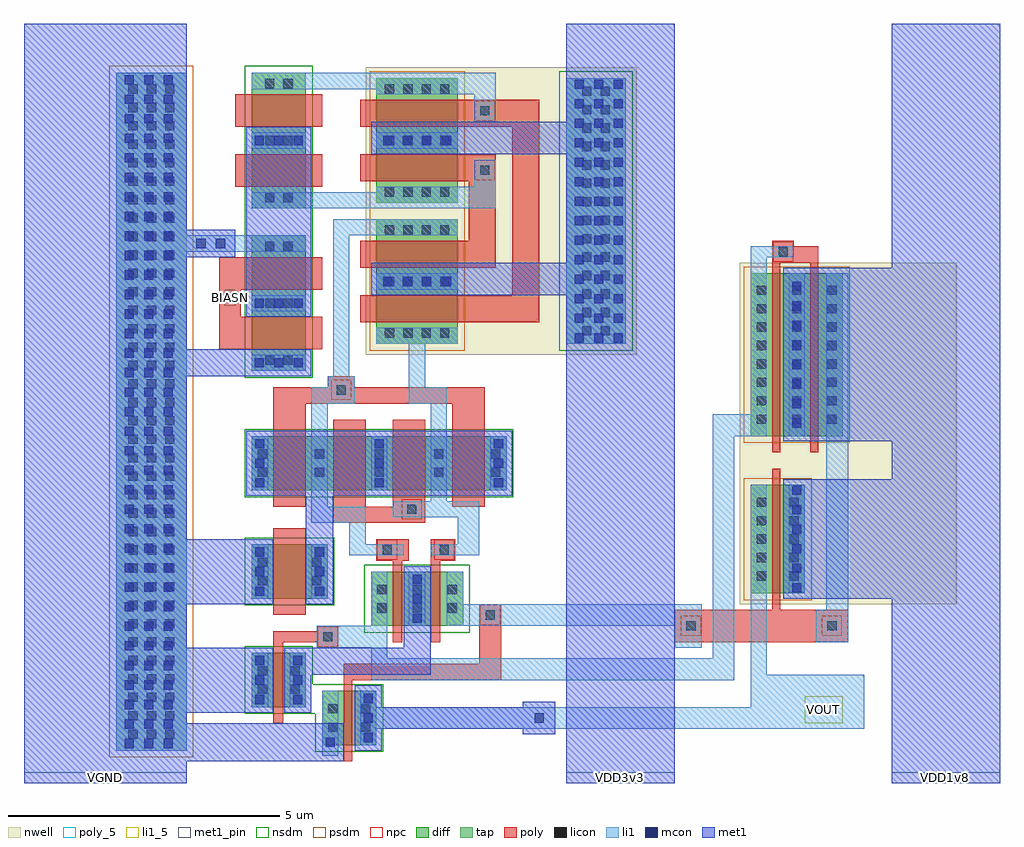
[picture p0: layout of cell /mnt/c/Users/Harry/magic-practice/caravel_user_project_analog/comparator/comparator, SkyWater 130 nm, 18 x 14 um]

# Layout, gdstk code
import gdstk
lib = gdstk.Library(unit=1e-6, precision=1e-09)
def R(c, l, rs):  # rectangles x0, y0, x1, y1
    for r in rs: c.add(gdstk.rectangle(r[:2], r[2:], *l))
def A(c, l, x, y, w, h, nx, ny, dx, dy):  # array of equal rectangles
    R(c, l, [(x+i*dx, y+j*dy, x+i*dx+w, y+j*dy+h) for i in range(nx) for j in range(ny)])
nwell = (64, 20)
diff = (65, 20)
tap = (65, 44)
poly_5 = (66, 5)
poly = (66, 20)
licon = (66, 44)
li1_5 = (67, 5)
li1 = (67, 20)
mcon = (67, 44)
met1_pin = (68, 16)
met1 = (68, 20)
nsdm = (93, 44)
psdm = (94, 20)
npc = (95, 20)

c__mnt_c_users_harry_magic = lib.new_cell('/mnt/c/Users/Harry/magic-practice/caravel_user_project_analog/comparator/comparator')
R(c__mnt_c_users_harry_magic, nwell, [(9.2,-7.7,13.2,-1.4), (2.3,-3.1,7.3,2.2)])
R(c__mnt_c_users_harry_magic, diff, [(1.5,-10.3,2.5,-9.3), (0.2,-9.6,1.2,-8.6), (2.4,-8.1,4.1,-7.1), (0.2,-7.6,1.6,-6.6), (9.4,-7.5,10.4,-5.5), (0.2,-5.6,4.9,-4.6), (9.4,-4.6,11.1,-1.6), (0.2,-3.4,1.2,-0.9), (2.5,-2.9,4,-0.6), (0.2,-0.4,1.2,2.1), (2.5,-0.3,4,2)])
R(c__mnt_c_users_harry_magic, tap, [(-2.3,-10.4,-1,2.1), (6,-2.9,7.1,2)])
R(c__mnt_c_users_harry_magic, poly_5, [(-0.3,-2.2,-0.1,-1.9)])
R(c__mnt_c_users_harry_magic, poly, [(1.9,-10.6,2.05,-9.1), (0.6,-9.9,0.78,-8.4), (1.9,-9.1,4.8,-8.8), (4.4,-8.8,4.8,-7.7), (1.4,-8.5,1.8,-8.4), (0.6,-8.4,1.8,-8.2), (2.8,-8.4,2.98,-6.9), (3.5,-8.4,3.68,-6.9), (8,-8.4,11.2,-7.8), (1.4,-8.2,1.8,-8.1), (0.6,-7.9,1.2,-6.3), (9.8,-7.8,9.95,-5.2), (2.5,-6.9,3.1,-6.5), (3.5,-6.9,3.95,-6.5), (1.7,-6.2,3.4,-5.9), (0.6,-5.9,1.2,-4), (1.7,-5.9,2.3,-4.3), (2.8,-5.9,3.4,-4.3), (3.9,-5.9,4.5,-4), (9.8,-4.9,9.95,-1.4), (10.5,-4.9,10.65,-1.4), (0.6,-4,4.5,-3.7), (1.6,-3.7,2.1,-3.5), (-0.4,-3,1.5,-2.4), (2.2,-2.5,5.5,-2), (-0.4,-2.4,0,-1.9), (5,-2,5.5,1.1), (-0.4,-1.9,1.5,-1.3), (2.2,-1.5,4.7,-1), (9.8,-1.4,10.65,-1.1), (9.8,-1.1,10.2,-1), (4.2,-1,4.7,0.1), (-0.1,0,1.5,0.6), (2.2,0.1,4.7,0.6), (-0.1,1.1,1.5,1.7), (2.2,1.1,5.5,1.6)])
A(c__mnt_c_users_harry_magic, licon, -2.075, -10.185, 0.17, 0.17, 3, 36, 0.34, 0.34)
A(c__mnt_c_users_harry_magic, licon, 2.515, -7.855, 0.17, 0.17, 3, 2, 0.65, 0.34)
A(c__mnt_c_users_harry_magic, licon, 9.515, -7.265, 0.17, 0.17, 1, 5, 0, 0.34)
A(c__mnt_c_users_harry_magic, licon, 10.115, -7.265, 0.17, 0.17, 1, 5, 0, 0.34)
A(c__mnt_c_users_harry_magic, licon, 1.365, -5.355, 0.17, 0.17, 3, 2, 1.1, 0.34)
A(c__mnt_c_users_harry_magic, licon, 9.515, -4.375, 0.17, 0.17, 3, 8, 0.65, 0.34)
A(c__mnt_c_users_harry_magic, licon, 0.445, -3.285, 0.17, 0.17, 1, 3, 0, 1.05)
A(c__mnt_c_users_harry_magic, licon, 0.785, -3.285, 0.17, 0.17, 1, 3, 0, 1.05)
A(c__mnt_c_users_harry_magic, licon, 2.655, -2.785, 0.17, 0.17, 4, 3, 0.34, 0.95)
A(c__mnt_c_users_harry_magic, licon, 6.295, -2.745, 0.17, 0.17, 1, 14, 0, 0.34)
A(c__mnt_c_users_harry_magic, licon, 6.635, -2.745, 0.17, 0.17, 1, 14, 0, 0.34)
A(c__mnt_c_users_harry_magic, licon, 0.445, -0.285, 0.17, 0.17, 1, 3, 0, 1.05)
A(c__mnt_c_users_harry_magic, licon, 0.785, -0.285, 0.17, 0.17, 1, 3, 0, 1.05)
A(c__mnt_c_users_harry_magic, licon, 2.655, -0.185, 0.17, 0.17, 4, 3, 0.34, 0.95)
R(c__mnt_c_users_harry_magic, licon, [(1.615,-10.055,1.785,-9.885), (2.215,-10.055,2.385,-9.885), (1.615,-9.715,1.785,-9.545), (2.215,-9.715,2.385,-9.545), (0.315,-9.355,0.485,-9.185), (0.915,-9.355,1.085,-9.185), (0.315,-9.015,0.485,-8.845), (0.915,-9.015,1.085,-8.845), (1.515,-8.385,1.685,-8.215), (8.215,-8.185,8.385,-8.015), (10.815,-8.185,10.985,-8.015), (4.515,-7.985,4.685,-7.815), (0.315,-7.355,0.485,-7.185), (1.315,-7.355,1.485,-7.185), (0.315,-7.015,0.485,-6.845), (1.315,-7.015,1.485,-6.845), (2.615,-6.785,2.785,-6.615), (3.665,-6.785,3.835,-6.615), (3.065,-6.035,3.235,-5.865), (0.315,-5.355,0.485,-5.185), (4.615,-5.355,4.785,-5.185), (0.315,-5.015,0.485,-4.845), (4.615,-5.015,4.785,-4.845), (1.765,-3.835,1.935,-3.665), (9.915,-1.285,10.085,-1.115), (4.415,0.215,4.585,0.385), (4.415,1.315,4.585,1.485)])
R(c__mnt_c_users_harry_magic, li1_5, [(10.4,-9.9,11.1,-9.4)])
A(c__mnt_c_users_harry_magic, li1, 0.2, -5.6, 0.3, 1, 3, 1, 2.2, 0)
R(c__mnt_c_users_harry_magic, li1, [(1.5,-10.5,1.8,-9.3), (-2.3,-10.4,-1,-1.2), (2.2,-10.3,2.5,-10), (2.2,-10,11.5,-9.6), (0.2,-9.6,0.5,-8.6), (0.9,-9.6,1.2,-8.6), (2.2,-9.6,2.5,-9.3), (9.4,-9.6,11.5,-9), (2.4,-9.1,9.1,-8.7), (9.4,-9,9.7,-5.5), (2.4,-8.7,2.7,-8.5), (8.7,-8.7,9.1,-4.6), (1.4,-8.5,2.7,-8.1), (8,-8.5,8.5,-8.1), (10.6,-8.4,11.2,-7.8), (2.4,-8.1,2.7,-7.1), (3.1,-8.1,3.4,-7.1), (3.8,-8.1,8.5,-7.7), (10.8,-7.8,11.2,-1.6), (3.8,-7.7,4.1,-7.1), (0.2,-7.6,0.5,-6.6), (1.3,-7.6,1.6,-6.6), (10.1,-7.5,10.4,-5.5), (2,-6.8,3,-6.6), (3.5,-6.8,4.4,-6.6), (2,-6.6,2.3,-6.2), (4,-6.6,4.4,-6.1), (1.3,-6.2,2.3,-5.9), (2.8,-6.1,4.4,-5.8), (1.3,-5.9,1.6,-4), (3.5,-5.8,3.8,-4), (8.7,-4.6,9.7,-4.2), (10.1,-4.6,10.4,-1.6), (9.4,-4.2,9.7,-1.3), (1.3,-4,2.1,-3.7), (3.1,-4,3.8,-3.7), (1.6,-3.7,2.1,-3.5), (3.1,-3.7,3.4,-2.9), (1.7,-3.5,2,-0.9), (0.2,-3.4,1.2,-3.1), (2.5,-2.9,4,-2.6), (6,-2.9,7.1,2), (0.2,-2.3,1.2,-2), (2.5,-1.9,4,-1.6), (9.4,-1.3,10.2,-1.1), (-2.3,-1.2,1.2,-0.9), (-2.3,-0.9,-1,2.1), (1.7,-0.9,4,-0.6), (0.2,-0.4,4.7,-0.1), (2.5,-0.1,4.7,0), (4.3,0,4.7,0.5), (0.2,0.7,1.2,1), (2.5,0.7,4,1), (4.3,1.2,4.7,1.7), (2.5,1.7,4.7,1.8), (0.2,1.8,4.7,2.1)])
A(c__mnt_c_users_harry_magic, mcon, -2.145, -10.355, 0.17, 0.17, 3, 35, 0.36, 0.36)
A(c__mnt_c_users_harry_magic, mcon, 2.265, -10.245, 0.17, 0.17, 1, 3, 0, 0.36)
A(c__mnt_c_users_harry_magic, mcon, 0.265, -9.545, 0.17, 0.17, 1, 3, 0, 0.36)
A(c__mnt_c_users_harry_magic, mcon, 0.965, -9.545, 0.17, 0.17, 1, 3, 0, 0.36)
A(c__mnt_c_users_harry_magic, mcon, 3.165, -8.045, 0.17, 0.17, 1, 3, 0, 0.36)
A(c__mnt_c_users_harry_magic, mcon, 0.265, -7.545, 0.17, 0.17, 1, 3, 0, 0.36)
A(c__mnt_c_users_harry_magic, mcon, 1.365, -7.545, 0.17, 0.17, 1, 3, 0, 0.36)
A(c__mnt_c_users_harry_magic, mcon, 10.165, -7.485, 0.17, 0.17, 1, 6, 0, 0.36)
A(c__mnt_c_users_harry_magic, mcon, 0.265, -5.545, 0.17, 0.17, 3, 3, 2.2, 0.36)
A(c__mnt_c_users_harry_magic, mcon, 10.165, -4.445, 0.17, 0.17, 1, 8, 0, 0.36)
A(c__mnt_c_users_harry_magic, mcon, 0.255, -3.335, 0.17, 0.17, 3, 2, 0.36, 1.1)
A(c__mnt_c_users_harry_magic, mcon, 6.155, -2.875, 0.17, 0.17, 3, 14, 0.36, 0.36)
A(c__mnt_c_users_harry_magic, mcon, 2.625, -1.835, 0.17, 0.17, 4, 2, 0.36, 2.6)
A(c__mnt_c_users_harry_magic, mcon, 0.255, 0.765, 0.17, 0.17, 3, 1, 0.36, 0)
R(c__mnt_c_users_harry_magic, mcon, [(1.565,-10.335,1.735,-10.165), (5.415,-9.885,5.585,-9.715), (-0.82,-1.135,-0.65,-0.965), (-0.46,-1.135,-0.29,-0.965)])
R(c__mnt_c_users_harry_magic, met1_pin, [(-4,-11,-1,-10.8), (6,-11,8,-10.8), (12,-11,14,-10.8)])
R(c__mnt_c_users_harry_magic, met1, [(-4,-11,-1,-10.6), (6,-11,8,-2), (12,-11,14,-7.6), (-4,-10.6,1.9,-9.9), (2.1,-10.4,2.6,-10), (5.2,-10.1,5.8,-10), (2.1,-10,5.8,-9.6), (-4,-9.9,-1,-9.7), (-4,-9.7,0.6,-8.5), (0.8,-9.7,1.3,-9), (2.1,-9.6,2.6,-9.2), (5.2,-9.6,5.8,-9.5), (0.8,-9,3.5,-8.5), (-4,-8.5,-1,-7.7), (3,-8.5,3.5,-7), (-4,-7.7,0.6,-6.5), (1.2,-7.7,1.7,-5.7), (10,-7.6,14,-5.4), (-4,-6.5,-1,-3.5), (0.1,-5.7,5,-4.5), (12,-5.4,14,-4.7), (10,-4.7,14,-1.5), (-4,-3.5,1.3,-3), (-4,-3,-1,-1.3), (0.1,-2.4,1.3,1.1), (2.4,-2,8,-1.4), (12,-1.5,14,3), (6,-1.4,8,0.6), (-4,-1.3,-0.1,-0.8), (-4,-0.8,-1,3), (2.4,0.6,8,1.2), (6,1.2,8,3)])
R(c__mnt_c_users_harry_magic, nsdm, [(1.375,-10.425,2.625,-9.725), (0.075,-9.725,2.625,-9.175), (0.075,-9.175,1.325,-8.475), (2.275,-8.225,4.225,-6.975), (0.075,-7.725,1.725,-6.475), (0.075,-5.725,5.025,-4.475), (0.075,-3.525,1.325,2.225), (5.875,-3.025,7.225,2.125)])
R(c__mnt_c_users_harry_magic, psdm, [(-2.425,-10.525,-0.875,2.225), (9.275,-7.625,10.525,-5.375), (9.275,-4.725,11.225,-1.475), (2.375,-3.025,4.125,2.125)])
R(c__mnt_c_users_harry_magic, npc, [(1.415,-8.485,1.785,-8.115), (8.115,-8.285,8.485,-7.915), (10.715,-8.285,11.085,-7.915), (4.415,-8.085,4.785,-7.715), (2.515,-6.885,2.885,-6.515), (3.565,-6.885,3.935,-6.515), (2.965,-6.135,3.335,-5.765), (1.665,-3.935,2.035,-3.565), (9.815,-1.385,10.185,-1.015), (4.315,0.115,4.685,0.485), (4.315,1.215,4.685,1.585)])
c__mnt_c_users_harry_magic.add(gdstk.Label('BIASN', (-0.2,-2.05), layer=66, texttype=5))
c__mnt_c_users_harry_magic.add(gdstk.Label('VOUT', (10.75,-9.65), layer=67, texttype=5))
c__mnt_c_users_harry_magic.add(gdstk.Label('VGND', (-2.5,-10.9), layer=68, texttype=16))
c__mnt_c_users_harry_magic.add(gdstk.Label('VDD3v3', (7,-10.9), layer=68, texttype=16))
c__mnt_c_users_harry_magic.add(gdstk.Label('VDD1v8', (13,-10.9), layer=68, texttype=16))

lib.write_gds('_mnt_c_Users_Harry_magic-practice_caravel_user_project_analog_comparator_comparator.gds')
